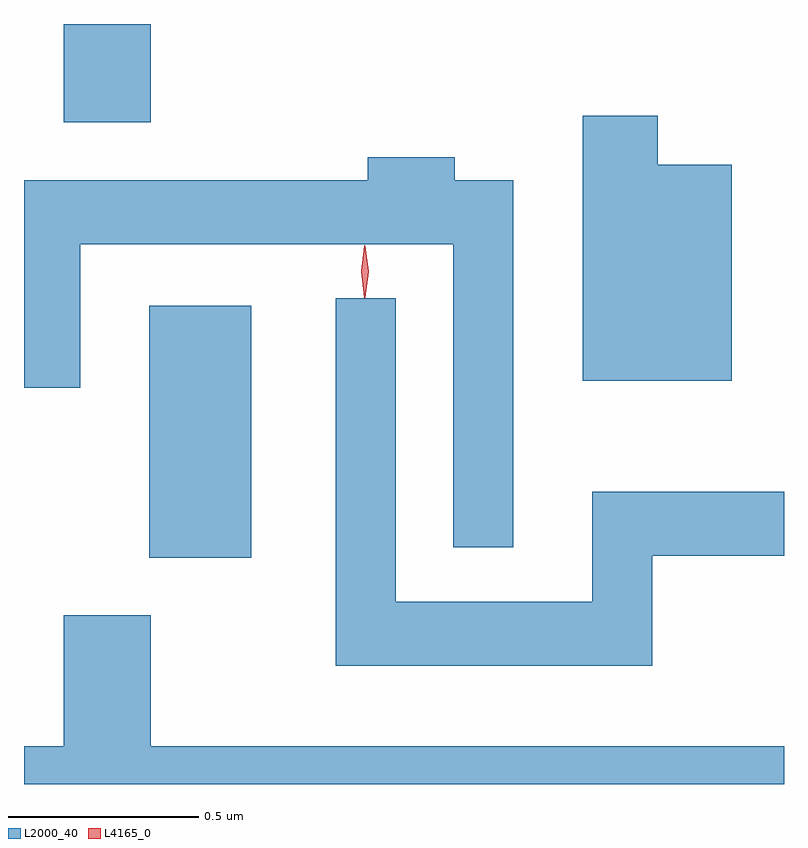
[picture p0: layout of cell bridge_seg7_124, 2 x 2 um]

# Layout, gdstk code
import gdstk
lib = gdstk.Library(unit=1e-6, precision=1e-09)
def R(c, l, rs):  # rectangles x0, y0, x1, y1
    for r in rs: c.add(gdstk.rectangle(r[:2], r[2:], *l))
def P(c, l, *ps):  # polygons
    for p in ps: c.add(gdstk.Polygon(p, *l))
L2000_40 = (2000, 40)
L4165_0 = (4165, 0)

bridge_seg7_124 = lib.new_cell('bridge_seg7_124')
R(bridge_seg7_124, L2000_40, [(1482.886,1755.041,1483.154,1755.704), (1482.661,1756.186,1482.889,1756.445)])
P(bridge_seg7_124, L2000_40, [(1484.419,1756.074),(1484.224,1756.074),(1484.224,1756.204),(1484.026,1756.204),(1484.026,1755.506),(1484.419,1755.506)],
  [(1483.844,1756.034),(1483.689,1756.034),(1483.689,1756.094),(1483.461,1756.094),(1483.461,1756.034),(1482.556,1756.034),(1482.556,1755.488),(1482.704,1755.488),(1482.704,1755.866),(1483.686,1755.866),(1483.686,1755.068),(1483.844,1755.068)],
  [(1484.209,1755.046),(1484.556,1755.046),(1484.556,1755.214),(1484.051,1755.214),(1484.051,1754.924),(1483.534,1754.924),(1483.534,1755.723),(1483.376,1755.723),(1483.376,1754.756),(1484.209,1754.756)],
  [(1484.556,1754.544),(1482.889,1754.544),(1482.889,1754.889),(1482.661,1754.889),(1482.661,1754.544),(1482.556,1754.544),(1482.556,1754.445),(1484.556,1754.445)])
P(bridge_seg7_124, L4165_0, [(1483.453,1755.723),(1483.452,1755.724),(1483.443,1755.793),(1483.452,1755.862),(1483.453,1755.863),(1483.454,1755.862),(1483.463,1755.793),(1483.454,1755.724)],
  [(1483.452,1755.727),(1483.443,1755.794),(1483.452,1755.86),(1483.453,1755.86),(1483.454,1755.86),(1483.463,1755.794),(1483.454,1755.727),(1483.453,1755.727)])

lib.write_gds('bridge_seg7_124.gds')
